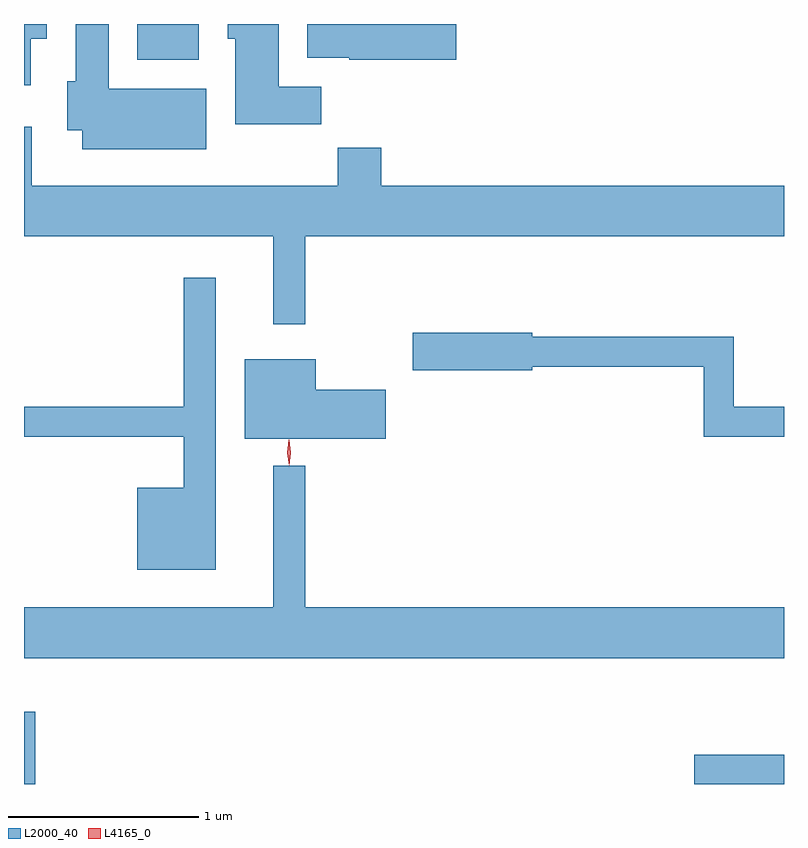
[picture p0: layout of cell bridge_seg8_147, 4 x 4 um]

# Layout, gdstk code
import gdstk
lib = gdstk.Library(unit=1e-6, precision=1e-09)
def R(c, l, rs):  # rectangles x0, y0, x1, y1
    for r in rs: c.add(gdstk.rectangle(r[:2], r[2:], *l))
def P(c, l, *ps):  # polygons
    for p in ps: c.add(gdstk.Polygon(p, *l))
L2000_40 = (2000, 40)
L4165_0 = (4165, 0)

bridge_seg8_147 = lib.new_cell('bridge_seg8_147')
R(bridge_seg8_147, L2000_40, [(1725.779,1864.614,1725.839,1864.994), (1729.306,1864.614,1729.779,1864.769), (1726.376,1868.426,1726.699,1868.614)])
P(bridge_seg8_147, L2000_40, [(1725.814,1868.536),(1725.899,1868.536),(1725.899,1868.614),(1725.779,1868.614),(1725.779,1868.291),(1725.814,1868.291)],
  [(1728.054,1868.614),(1727.271,1868.614),(1727.271,1868.436),(1727.49,1868.436),(1727.49,1868.426),(1728.054,1868.426)],
  [(1726.739,1868.274),(1726.224,1868.274),(1726.224,1868.614),(1726.051,1868.614),(1726.051,1868.314),(1726.006,1868.314),(1726.006,1868.056),(1726.086,1868.056),(1726.086,1867.956),(1726.739,1867.956)],
  [(1727.344,1868.284),(1727.119,1868.284),(1727.119,1868.614),(1726.851,1868.614),(1726.851,1868.536),(1726.891,1868.536),(1726.891,1868.086),(1727.344,1868.086)],
  [(1727.259,1867.496),(1729.779,1867.496),(1729.779,1867.764),(1727.659,1867.764),(1727.659,1867.964),(1727.431,1867.964),(1727.431,1867.764),(1725.819,1867.764),(1725.819,1868.074),(1725.779,1868.074),(1725.779,1867.496),(1727.091,1867.496),(1727.091,1867.033),(1727.259,1867.033)],
  [(1726.789,1867.278),(1726.621,1867.278),(1726.621,1866.599),(1725.779,1866.599),(1725.779,1866.441),(1726.621,1866.441),(1726.621,1866.174),(1726.376,1866.174),(1726.376,1865.741),(1726.789,1865.741)],
  [(1729.779,1866.599),(1729.514,1866.599),(1729.514,1866.969),(1728.454,1866.969),(1728.454,1866.989),(1727.826,1866.989),(1727.826,1866.791),(1728.454,1866.791),(1728.454,1866.811),(1729.356,1866.811),(1729.356,1866.441),(1729.779,1866.441)],
  [(1727.684,1866.689),(1727.314,1866.689),(1727.314,1866.849),(1726.941,1866.849),(1726.941,1866.431),(1727.684,1866.431)],
  [(1729.779,1865.544),(1727.259,1865.544),(1727.259,1866.288),(1727.091,1866.288),(1727.091,1865.544),(1725.779,1865.544),(1725.779,1865.276),(1729.779,1865.276)])
P(bridge_seg8_147, L4165_0, [(1727.174,1866.293),(1727.174,1866.294),(1727.164,1866.356),(1727.174,1866.419),(1727.174,1866.42),(1727.174,1866.419),(1727.184,1866.357),(1727.175,1866.294)],
  [(1727.174,1866.29),(1727.164,1866.358),(1727.173,1866.425),(1727.174,1866.426),(1727.174,1866.425),(1727.184,1866.358),(1727.175,1866.29),(1727.175,1866.29)])

lib.write_gds('bridge_seg8_147.gds')
